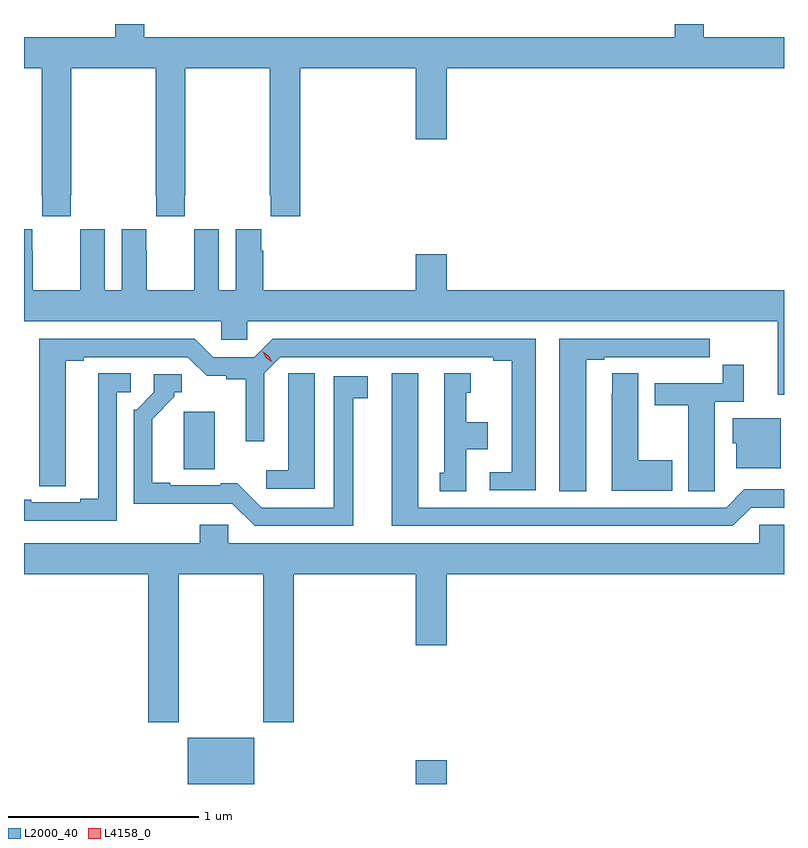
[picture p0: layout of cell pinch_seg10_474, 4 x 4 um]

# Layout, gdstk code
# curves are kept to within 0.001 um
import gdstk
lib = gdstk.Library(unit=1e-6, precision=1e-09)
def R(c, l, rs):  # rectangles x0, y0, x1, y1
    for r in rs: c.add(gdstk.rectangle(r[:2], r[2:], *l))
def P(c, l, *ps):  # polygons
    for p in ps: c.add(gdstk.Polygon(p, *l))
L2000_40 = (2000, 40)
L4158_0 = (4158, 0)

pinch_seg10_474 = lib.new_cell('pinch_seg10_474')
R(pinch_seg10_474, L2000_40, [(199.772,1301.877,200.122,1302.121), (200.972,1301.877,201.136,1302.001)])
P(pinch_seg10_474, L2000_40, [(199.542,1305.877),(199.391,1305.877),(199.391,1305.808),(198.91,1305.808),(198.91,1305.644),(199.003,1305.644),(199.003,1304.977),(199.005,1304.977),(199.005,1304.865),(199.155,1304.865),(199.155,1304.977),(199.158,1304.977),(199.158,1305.644),(199.603,1305.644),(199.603,1304.977),(199.605,1304.977),(199.605,1304.865),(199.755,1304.865),(199.755,1304.977),(199.758,1304.977),(199.758,1305.644),(200.203,1305.644),(200.203,1304.977),(200.209,1304.977),(200.209,1304.865),(200.363,1304.865),(200.363,1305.644),(200.972,1305.644),(200.972,1305.27),(201.136,1305.27),(201.136,1305.644),(202.91,1305.644),(202.91,1305.808),(202.487,1305.808),(202.487,1305.877),(202.335,1305.877),(202.335,1305.808),(199.542,1305.808)],
  [(201.136,1304.665),(200.972,1304.665),(200.972,1304.476),(200.168,1304.476),(200.168,1304.684),(200.158,1304.684),(200.158,1304.797),(200.024,1304.797),(200.024,1304.476),(199.936,1304.476),(199.936,1304.797),(199.806,1304.797),(199.806,1304.684),(199.805,1304.684),(199.805,1304.476),(199.555,1304.476),(199.555,1304.684),(199.554,1304.684),(199.554,1304.797),(199.424,1304.797),(199.424,1304.476),(199.336,1304.476),(199.336,1304.797),(199.206,1304.797),(199.206,1304.684),(199.205,1304.684),(199.205,1304.476),(198.955,1304.476),(198.955,1304.684),(198.954,1304.684),(198.954,1304.797),(198.91,1304.797),(198.91,1304.312),(199.947,1304.312),(199.947,1304.214),(200.085,1304.214),(200.085,1304.312),(202.877,1304.312),(202.877,1303.926),(202.91,1303.926),(202.91,1304.476),(201.136,1304.476)],
  [(201.604,1304.22),(200.219,1304.22),(200.123,1304.124),(199.905,1304.124),(199.809,1304.22),(198.989,1304.22),(198.99,1303.444),(199.129,1303.444),(199.129,1304.104),(199.225,1304.104),(199.225,1304.124),(199.773,1304.124),(199.871,1304.027),(199.974,1304.027),(199.974,1304.008),(200.078,1304.008),(200.078,1303.68),(200.175,1303.68),(200.175,1304.04),(200.259,1304.124),(201.38,1304.124),(201.38,1304.104),(201.476,1304.104),(201.476,1303.518),(201.36,1303.518),(201.36,1303.422),(201.604,1303.422)],
  [(201.868,1304.109),(201.964,1304.109),(201.964,1304.124),(202.24,1304.124),(202.24,1304.123),(202.406,1304.123),(202.406,1304.124),(202.519,1304.124),(202.519,1304.22),(201.728,1304.22),(201.728,1303.417),(201.868,1303.417)],
  [(202.545,1303.528),(202.546,1303.528),(202.546,1303.89),(202.697,1303.89),(202.697,1304.083),(202.588,1304.083),(202.588,1303.986),(202.229,1303.986),(202.229,1303.87),(202.406,1303.87),(202.406,1303.417),(202.545,1303.417)],
  [(200.44,1304.039),(200.301,1304.039),(200.301,1303.931),(200.3,1303.931),(200.3,1303.528),(200.184,1303.528),(200.184,1303.431),(200.44,1303.431)],
  [(202.321,1303.581),(202.144,1303.581),(202.144,1304.039),(202.005,1304.039),(202.005,1303.931),(202.004,1303.931),(202.004,1303.421),(202.321,1303.421)],
  [(199.398,1303.938),(199.471,1303.938),(199.471,1304.039),(199.301,1304.039),(199.301,1303.379),(199.205,1303.379),(199.205,1303.359),(198.949,1303.359),(198.949,1303.374),(198.91,1303.374),(198.91,1303.263),(199.398,1303.263)],
  [(201.238,1303.64),(201.352,1303.64),(201.352,1303.78),(201.238,1303.78),(201.238,1303.935),(201.262,1303.935),(201.262,1304.038),(201.122,1304.038),(201.122,1303.515),(201.098,1303.515),(201.098,1303.417),(201.238,1303.417)],
  [(202.737,1303.332),(202.91,1303.332),(202.91,1303.428),(202.701,1303.428),(202.605,1303.332),(200.986,1303.332),(200.986,1304.038),(200.846,1304.038),(200.846,1303.236),(202.641,1303.236)],
  [(200.644,1303.906),(200.719,1303.906),(200.719,1304.022),(200.54,1304.022),(200.54,1303.332),(200.16,1303.332),(200.032,1303.46),(199.946,1303.46),(199.946,1303.449),(199.681,1303.449),(199.681,1303.462),(199.585,1303.462),(199.585,1303.798),(199.702,1303.915),(199.702,1303.938),(199.741,1303.938),(199.741,1304.034),(199.593,1304.034),(199.593,1303.938),(199.503,1303.848),(199.488,1303.848),(199.488,1303.352),(200.007,1303.353),(200.124,1303.236),(200.644,1303.236)],
  [(199.914,1303.692),(199.915,1303.692),(199.915,1303.837),(199.751,1303.837),(199.751,1303.534),(199.914,1303.534)],
  [(202.894,1303.801),(202.64,1303.801),(202.64,1303.671),(202.658,1303.671),(202.658,1303.538),(202.894,1303.538)],
  [(199.725,1302.98),(200.17,1302.98),(200.17,1302.201),(200.33,1302.201),(200.33,1302.98),(200.972,1302.98),(200.972,1302.606),(201.136,1302.606),(201.136,1302.98),(202.91,1302.98),(202.91,1303.242),(202.779,1303.242),(202.779,1303.144),(199.986,1303.144),(199.986,1303.242),(199.835,1303.242),(199.835,1303.144),(198.91,1303.144),(198.91,1302.98),(199.565,1302.98),(199.565,1302.201),(199.725,1302.201)])
P(pinch_seg10_474, L4158_0, [(200.216,1304.098),(200.184,1304.118),(200.167,1304.151),(200.167,1304.152),(200.168,1304.152),(200.199,1304.131),(200.216,1304.098),(200.216,1304.098)])

lib.write_gds('pinch_seg10_474.gds')
